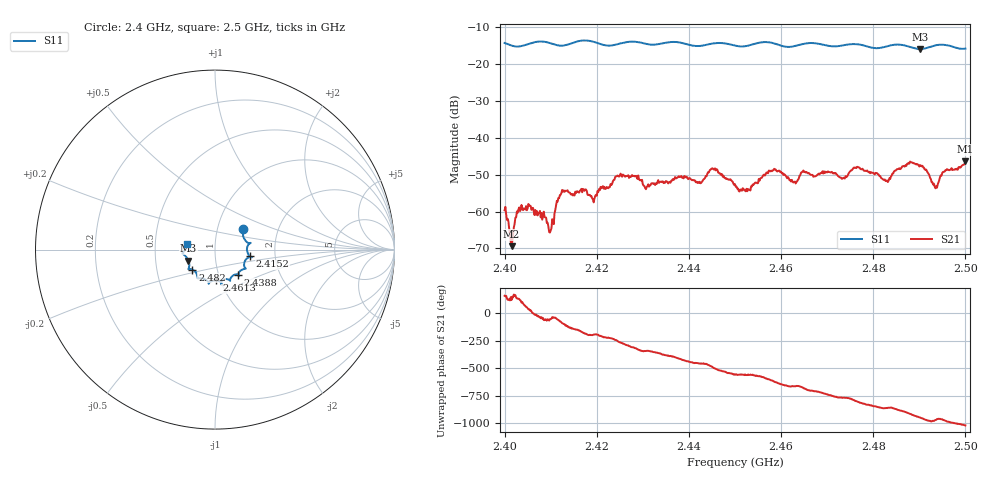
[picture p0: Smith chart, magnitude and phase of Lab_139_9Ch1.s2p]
# Hz S RI R 50
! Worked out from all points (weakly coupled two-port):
!   601 points, 2.4 GHz to 2.5 GHz, reference 50 ohm
!   highest |S21| = -46.34 dB at 2.5 GHz (marker M1); lowest = -69.4 dB at 2.4015 GHz (marker M2)
!   lowest |S11| = -15.9 dB at 2.4902 GHz (marker M3), VSWR 1.38, Z = 36.9 - j4.66 ohm
!   |S11| at or under -10 dB: start of sweep to end of sweep
!   S12 and S22 are empty: the file has one direction only
!   S11 on the Smith chart (normalised r, x): 2.4 GHz: 1.33, +0.31; 2.4152 GHz: 1.48, -0.11; 2.4388 GHz: 1.24, -0.36; 2.4613 GHz: 0.96, -0.34; 2.482 GHz: 0.76, -0.17; 2.5 GHz: 0.72, +0.05
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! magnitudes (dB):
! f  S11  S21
! 2.4 GHz  -14.3  -59.6
! 2.4015 GHz  -15.0  -69.4
! 2.4032 GHz  -15.2  -58.9
! 2.4057 GHz  -14.3  -58.5
! 2.4097 GHz  -14.2  -65.5
! 2.4123 GHz  -15.0  -54.9
! 2.4152 GHz  -14.1  -55.6
! 2.4167 GHz  -13.6  -53.8
! 2.4195 GHz  -14.0  -56.4
! 2.4248 GHz  -14.5  -50.5
! 2.4333 GHz  -14.6  -51.5
! 2.4388 GHz  -14.4  -51.0
! 2.4455 GHz  -14.4  -48.6
! 2.45 GHz  -15.0  -52.6
! 2.4613 GHz  -15.3  -51.0
! 2.4667 GHz  -14.3  -50.0
! 2.4765 GHz  -14.6  -47.9
! 2.482 GHz  -15.5  -51.1
! 2.4833 GHz  -15.1  -51.6
! 2.4902 GHz  -15.9  -47.4
! 2.4935 GHz  -14.9  -53.7
! 2.5 GHz  -15.8  -46.3
